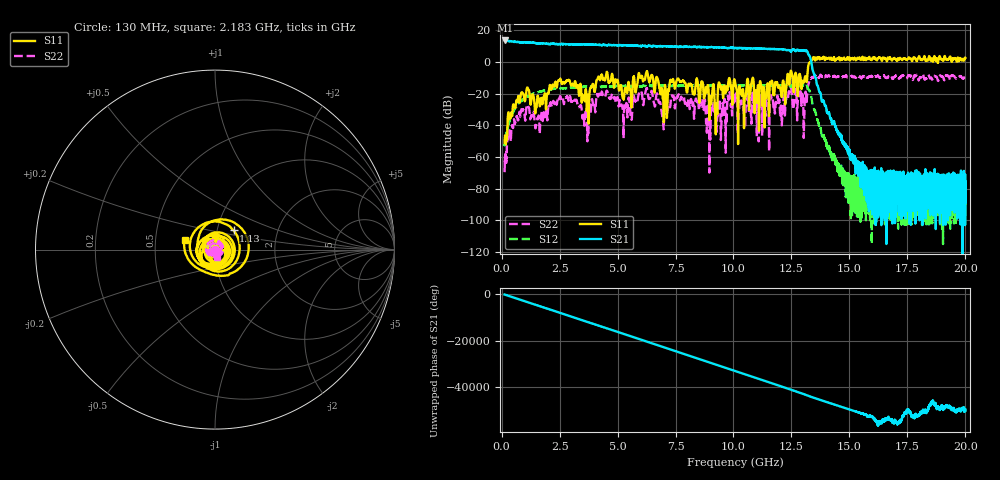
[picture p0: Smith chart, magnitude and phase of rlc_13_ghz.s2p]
!Created with skrf (http://scikit-rf.org).
# GHz S RI R 50.0
!freq ReS11 ImS11 ReS21 ImS21 ReS12 ImS12 ReS22 ImS22
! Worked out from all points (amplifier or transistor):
!   20013 points, 130 MHz to 20 GHz, reference 50 ohm
!   highest |S21| = 13.7 dB at 138 MHz (marker M1)
!   |S21| within 3 dB of that: start of sweep to 4.292 GHz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
!   unconditionally stable (mu >= 1): start of sweep to 13.23 GHz; 18.79664 GHz to 18.82337 GHz
!   at 3.465 GHz: K = 1.13, MAG = 11.2 dB, |S12| = -15.7 dB
!   at 10.14 GHz: K = 1.25, MAG = 8.9 dB, |S12| = -14.9 dB
!   at 20 GHz: K = -18537392.32, MSG = -1.1 dB, |S12| = -75.9 dB
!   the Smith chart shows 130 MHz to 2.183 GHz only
!   S11 on the Smith chart (normalised r, x): 130 MHz: 1.00, +0.00; 1.13 GHz: 1.20, +0.26; 2.183 GHz: 0.71, +0.08
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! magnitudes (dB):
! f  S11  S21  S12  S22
! 130 MHz  -50.9  13.6  -53.1  -69.5
! 138 MHz  -48.2  13.7  -52.2  -65.2
! 363 MHz  -35.0  13.2  -36.4  -43.2
! 1.13 GHz  -16.5  12.3  -21.8  -27.9
! 1.557 GHz  -21.3  11.8  -19.1  -35.5
! 2.183 GHz  -15.0  11.6  -17.0  -28.0
! 3.442 GHz  -21.6  11.2  -15.7  -28.4
! 3.658 GHz  -22.2  11.2  -15.6  -30.5
! 4.253 GHz  -11.3  11.0  -15.5  -22.2
! 5.274 GHz  -23.3  10.7  -15.1  -33.8
! 6.754 GHz  -11.8  10.0  -15.0  -24.0
! 7.052 GHz  -14.5  10.0  -15.0  -28.4
! 7.674 GHz  -11.8  9.8  -15.0  -23.0
! 8.912 GHz  -15.5  9.3  -14.8  -26.2
! 10.06 GHz  -12.3  8.8  -14.9  -20.0
! 11.33 GHz  -26.6  8.5  -14.8  -26.2
! 13 GHz  -12.7  7.6  -14.9  -23.5
! 13.38 GHz  1.1  -2.0  -24.1  -9.6
! 14.98 GHz  2.9  -56.2  -82.7  -9.2
! 15.83 GHz  2.6  -70.1  -77.2  -9.4
! 16.69 GHz  2.1  -75.2  -84.6  -8.9
! 20 GHz  2.7  -78.0  -75.9  -9.2
